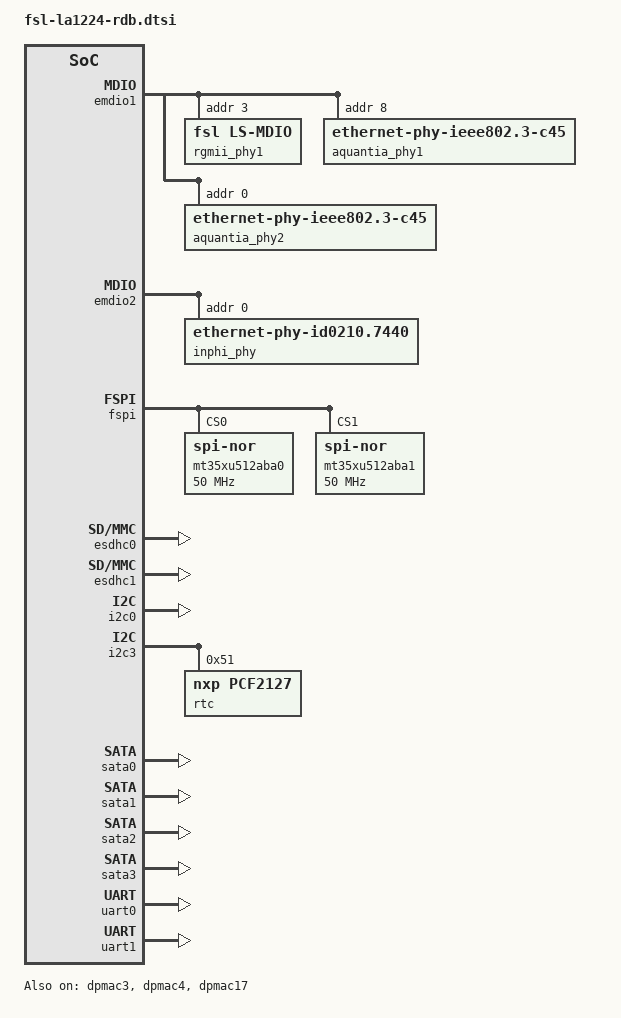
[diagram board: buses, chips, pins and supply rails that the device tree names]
// SPDX-License-Identifier: GPL-2.0+ OR X11
/*
 * NXP LA1224RDB device tree source
 *
 * Copyright 2020-2023, 2025-2026 NXP
 *
 */

/dts-v1/;

#include "fsl-lx2160a.dtsi"

&dpmac3 {
	status = "okay";
	phy-handle = <&aquantia_phy1>;
	phy-connection-type = "usxgmii";
};

&dpmac4 {
	status = "okay";
	phy-handle = <&aquantia_phy2>;
	phy-connection-type = "usxgmii";
};

&dpmac17 {
	status = "okay";
	phy-handle = <&rgmii_phy1>;
	phy-connection-type = "rgmii-id";
};

&emdio1 {
	status = "okay";
	rgmii_phy1: ethernet-phy@1 {
		/* AR8035 PHY - "compatible" property not strictly needed */
		compatible = "fsl,ls-mdio";
		reg = <0x3>;
		/* Poll mode - no "interrupts" property defined */
	};
	aquantia_phy1: ethernet-phy@4 {
		/* AQR107 PHY - "compatible" property not strictly needed */
		compatible = "ethernet-phy-ieee802.3-c45";
		interrupts = <GIC_SPI 2 IRQ_TYPE_LEVEL_HIGH>;
		reg = <0x8>;
	};
	aquantia_phy2: ethernet-phy@5 {
		/* AQR107 PHY - "compatible" property not strictly needed */
		compatible = "ethernet-phy-ieee802.3-c45";
		interrupts = <GIC_SPI 3 IRQ_TYPE_LEVEL_HIGH>;
		reg = <0x0>;
	};
};

&emdio2 {
	status = "okay";
	inphi_phy: ethernet-phy@0 {
		compatible = "ethernet-phy-id0210.7440";
		reg = <0x0>;
	};
};

&fspi {
	status = "okay";

	mt35xu512aba0: flash@0 {
		#address-cells = <1>;
		#size-cells = <1>;
		compatible = "jedec,spi-nor";
		spi-max-frequency = <50000000>;
		reg = <0>;
		spi-rx-bus-width = <8>;
		spi-tx-bus-width = <1>;
	};

	mt35xu512aba1: flash@1 {
		#address-cells = <1>;
		#size-cells = <1>;
		compatible = "jedec,spi-nor";
		spi-max-frequency = <50000000>;
		reg = <1>;
		spi-rx-bus-width = <8>;
		spi-tx-bus-width = <1>;
	};
};

&esdhc0 {
	status = "okay";
};

&esdhc1 {
	status = "okay";
};

&i2c0 {
	status = "okay";
	bootph-all;
};

&i2c3 {
	status = "okay";

	rtc@51 {
		compatible = "nxp,pcf2127";
		reg = <0x51>;
	};
};

&sata0 {
	status = "okay";
};

&sata1 {
	status = "okay";
};

&sata2 {
	status = "okay";
};

&sata3 {
	status = "okay";
};

&uart0 {
        status = "okay";
};

&uart1 {
        status = "okay";
};
